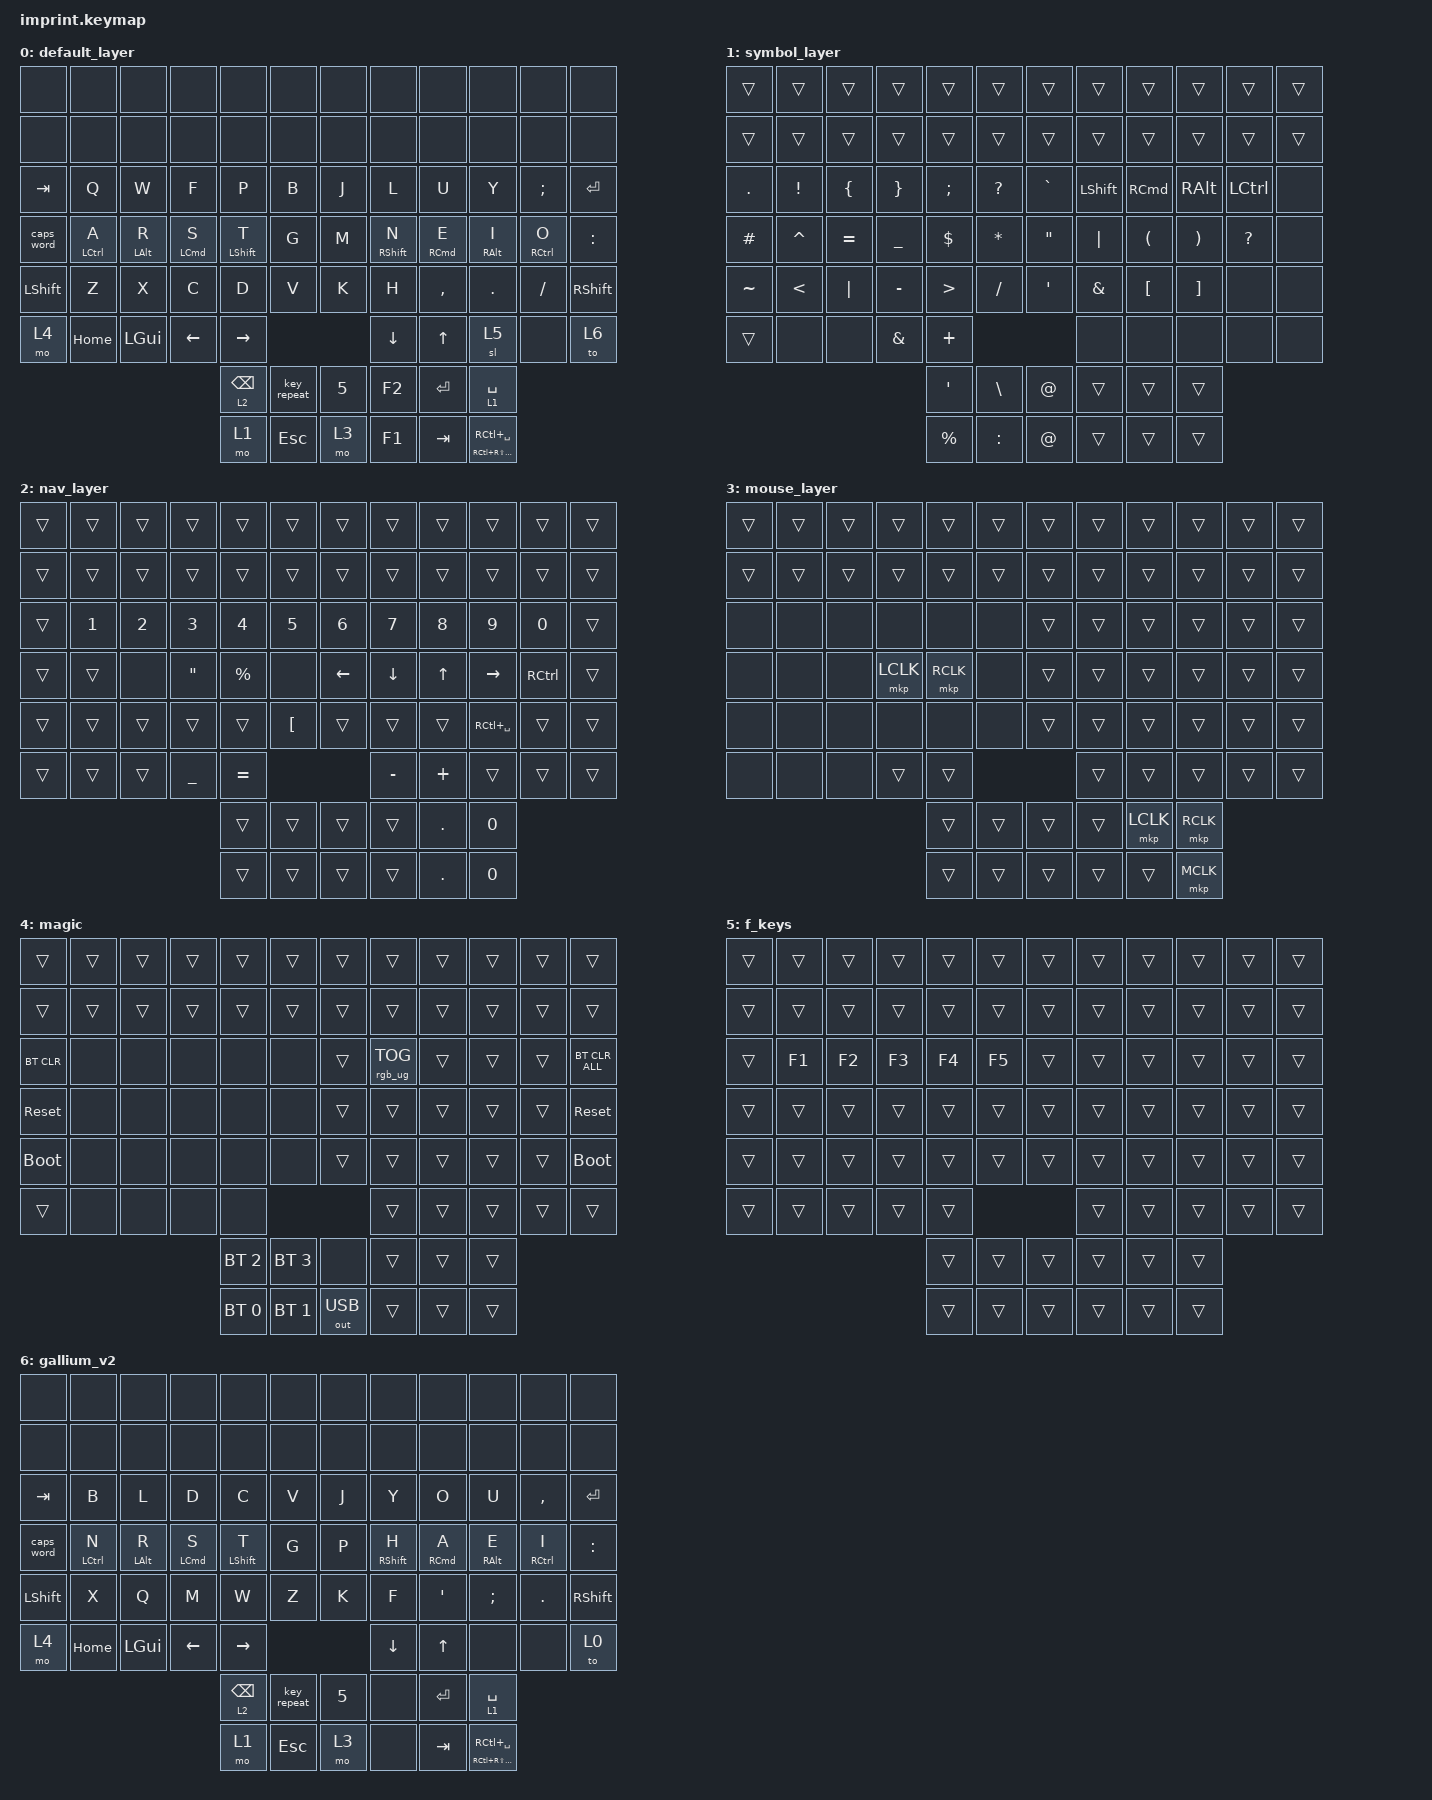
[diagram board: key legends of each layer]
#include <input/processors.dtsi>
#include <dt-bindings/zmk/input_transform.h>
#include <behaviors.dtsi>
#include <dt-bindings/zmk/bt.h>
#include <dt-bindings/zmk/keys.h>
#include <dt-bindings/zmk/outputs.h>
#include <dt-bindings/zmk/pointing.h>
#include <dt-bindings/zmk/rgb.h>

/ {
    chosen { zmk,matrix-transform = &imprint_function_row_full_bottom_row; };

    behaviors {
        hrm_l: hrm_l {
            compatible = "zmk,behavior-hold-tap";
            label = "HRM_L";
            bindings = <&kp>, <&kp>;

            #binding-cells = <2>;
            tapping-term-ms = <200>;
            quick-tap-ms = <175>;
            hold-trigger-on-release;
            hold-trigger-key-positions = <6 7 8 9 10 11 18 19 20 21 22 23 30 31 32 33 34 35 42 43 44 45 46 47 54 55 56 57 58 59 65 66 67 68 69 70 71 72 73 74 75 76 77 78 79 80 81>;
            flavor = "tap-preferred";
        };

        hrm_r: hrm_r {
            compatible = "zmk,behavior-hold-tap";
            label = "HRM_R";
            bindings = <&kp>, <&kp>;

            #binding-cells = <2>;
            tapping-term-ms = <200>;
            quick-tap-ms = <175>;
            hold-trigger-on-release;
            flavor = "tap-preferred";
            hold-trigger-key-positions = <0 1 2 3 4 5 12 13 14 15 16 17 24 25 26 27 28 29 36 37 38 39 40 41 48 49 50 51 52 53 60 61 62 63 64 70 70 71 72 73 74 75 76 77 78 79 80 81>;
        };

        layer_repeat: layer_repeat {
            compatible = "zmk,behavior-hold-tap";
            label = "LAYER_REPEAT";
            bindings = <&mo>, <&key_repeat>;

            #binding-cells = <2>;
            tapping-term-ms = <200>;
            quick-tap-ms = <17>;
            flavor = "tap-preferred";
            hold-trigger-on-release;
        };
    };

    keymap {
        compatible = "zmk,keymap";

        default_layer {
            bindings = <
&none       &none           &none              &none                  &none                &none                        &none   &none                 &none                                &none               &none           &none
&none       &none           &none              &none                  &none                &none                        &none   &none                 &none                                &none               &none           &none
&kp TAB     &kp Q           &kp W              &kp F                  &kp P                &kp B                        &kp J   &kp L                 &kp U                                &kp Y               &kp SEMICOLON   &kp ENTER
&caps_word  &hrm_l LCTRL A  &hrm_l LEFT_ALT R  &hrm_l LEFT_COMMAND S  &hrm_l LEFT_SHIFT T  &kp G                        &kp M   &hrm_r RIGHT_SHIFT N  &hrm_r RIGHT_COMMAND E               &hrm_l RIGHT_ALT I  &hrm_r RCTRL O  &kp COLON
&kp LSHFT   &kp Z           &kp X              &kp C                  &kp D                &kp V                        &kp K   &kp H                 &kp COMMA                            &kp DOT             &kp FSLH        &kp RSHFT
&mo 4       &kp HOME        &kp LGUI           &kp LEFT               &kp RIGHT                                                 &kp DOWN              &kp UP_ARROW                         &sl 5               &none           &to 6
                                                                      &lt 2 BACKSPACE      &key_repeat  &kp NUMBER_5    &kp F2  &kp ENTER             &lt 1 SPACE
                                                                      &mo 1                &kp ESCAPE   &mo 3           &kp F1  &kp TAB               &mt RC(RS(RA(RIGHT_GUI))) RC(SPACE)
            >;
        };

        symbol_layer {
            bindings = <
&trans      &trans           &trans          &trans           &trans            &trans                        &trans             &trans          &trans                &trans                 &trans            &trans
&trans      &trans           &trans          &trans           &trans            &trans                        &trans             &trans          &trans                &trans                 &trans            &trans
&kp PERIOD  &kp EXCLAMATION  &kp LEFT_BRACE  &kp RIGHT_BRACE  &kp SEMICOLON     &kp QUESTION                  &kp GRAVE          &kp LEFT_SHIFT  &kp RIGHT_COMMAND     &kp RIGHT_ALT          &kp LEFT_CONTROL  &none
&kp HASH    &kp CARET        &kp EQUAL       &kp UNDERSCORE   &kp DOLLAR        &kp ASTERISK                  &kp DOUBLE_QUOTES  &kp PIPE        &kp LEFT_PARENTHESIS  &kp RIGHT_PARENTHESIS  &kp QUESTION      &none
&kp TILDE   &kp LESS_THAN    &kp PIPE        &kp MINUS        &kp GREATER_THAN  &kp SLASH                     &kp SQT            &kp AMPERSAND   &kp LEFT_BRACKET      &kp RIGHT_BRACKET      &none             &none
&trans      &none            &none           &kp AMPERSAND    &kp PLUS                                                           &none           &none                 &none                  &none             &none
                                                              &kp SINGLE_QUOTE  &kp BACKSLASH  &kp AT_SIGN    &trans             &trans          &trans
                                                              &kp PERCENT       &kp COLON      &kp AT_SIGN    &trans             &trans          &trans
            >;
        };

        nav_layer {
            bindings = <
&trans  &trans        &trans        &trans             &trans        &trans                      &trans          &trans          &trans        &trans           &trans             &trans
&trans  &trans        &trans        &trans             &trans        &trans                      &trans          &trans          &trans        &trans           &trans             &trans
&trans  &kp NUMBER_1  &kp NUMBER_2  &kp NUMBER_3       &kp NUMBER_4  &kp NUMBER_5                &kp NUMBER_6    &kp NUMBER_7    &kp NUMBER_8  &kp NUMBER_9     &kp NUMBER_0       &trans
&trans  &trans        &none         &kp DOUBLE_QUOTES  &kp PERCENT   &none                       &kp LEFT_ARROW  &kp DOWN_ARROW  &kp UP_ARROW  &kp RIGHT_ARROW  &kp RIGHT_CONTROL  &trans
&trans  &trans        &trans        &trans             &trans        &kp LEFT_BRACKET            &trans          &trans          &trans        &kp RC(SPACE)    &trans             &trans
&trans  &trans        &trans        &kp UNDERSCORE     &kp EQUAL                                                 &kp MINUS       &kp PLUS      &trans           &trans             &trans
                                                       &trans        &trans            &trans    &trans          &kp PERIOD      &kp NUMBER_0
                                                       &trans        &trans            &trans    &trans          &kp PERIOD      &kp NUMBER_0
            >;
        };

        mouse_layer {
            bindings = <
&trans  &trans  &trans  &trans     &trans     &trans            &trans  &trans     &trans     &trans  &trans  &trans
&trans  &trans  &trans  &trans     &trans     &trans            &trans  &trans     &trans     &trans  &trans  &trans
&none   &none   &none   &none      &none      &none             &trans  &trans     &trans     &trans  &trans  &trans
&none   &none   &none   &mkp LCLK  &mkp RCLK  &none             &trans  &trans     &trans     &trans  &trans  &trans
&none   &none   &none   &none      &none      &none             &trans  &trans     &trans     &trans  &trans  &trans
&none   &none   &none   &trans     &trans                               &trans     &trans     &trans  &trans  &trans
                                   &trans     &trans  &trans    &trans  &mkp LCLK  &mkp RCLK
                                   &trans     &trans  &trans    &trans  &trans     &mkp MCLK
            >;
        };

        magic {
            bindings = <
&trans       &trans  &trans  &trans  &trans        &trans                        &trans  &trans           &trans  &trans  &trans  &trans
&trans       &trans  &trans  &trans  &trans        &trans                        &trans  &trans           &trans  &trans  &trans  &trans
&bt BT_CLR   &none   &none   &none   &none         &none                         &trans  &rgb_ug RGB_TOG  &trans  &trans  &trans  &bt BT_CLR_ALL
&sys_reset   &none   &none   &none   &none         &none                         &trans  &trans           &trans  &trans  &trans  &sys_reset
&bootloader  &none   &none   &none   &none         &none                         &trans  &trans           &trans  &trans  &trans  &bootloader
&trans       &none   &none   &none   &none                                               &trans           &trans  &trans  &trans  &trans
                                     &bt BT_SEL 2  &bt BT_SEL 3  &none           &trans  &trans           &trans
                                     &bt BT_SEL 0  &bt BT_SEL 1  &out OUT_USB    &trans  &trans           &trans
            >;
        };

        f_keys {
            bindings = <
&trans  &trans  &trans  &trans  &trans  &trans            &trans  &trans  &trans  &trans  &trans  &trans
&trans  &trans  &trans  &trans  &trans  &trans            &trans  &trans  &trans  &trans  &trans  &trans
&trans  &kp F1  &kp F2  &kp F3  &kp F4  &kp F5            &trans  &trans  &trans  &trans  &trans  &trans
&trans  &trans  &trans  &trans  &trans  &trans            &trans  &trans  &trans  &trans  &trans  &trans
&trans  &trans  &trans  &trans  &trans  &trans            &trans  &trans  &trans  &trans  &trans  &trans
&trans  &trans  &trans  &trans  &trans                            &trans  &trans  &trans  &trans  &trans
                                &trans  &trans  &trans    &trans  &trans  &trans
                                &trans  &trans  &trans    &trans  &trans  &trans
            >;
        };

        gallium_v2 {
            bindings = <
&none       &none           &none              &none                  &none                &none                        &none  &none                 &none                                &none               &none           &none
&none       &none           &none              &none                  &none                &none                        &none  &none                 &none                                &none               &none           &none
&kp TAB     &kp B           &kp L              &kp D                  &kp C                &kp V                        &kp J  &kp Y                 &kp O                                &kp U               &kp COMMA       &kp ENTER
&caps_word  &hrm_l LCTRL N  &hrm_l LEFT_ALT R  &hrm_l LEFT_COMMAND S  &hrm_l LEFT_SHIFT T  &kp G                        &kp P  &hrm_r RIGHT_SHIFT H  &hrm_r RIGHT_COMMAND A               &hrm_l RIGHT_ALT E  &hrm_r RCTRL I  &kp COLON
&kp LSHFT   &kp X           &kp Q              &kp M                  &kp W                &kp Z                        &kp K  &kp F                 &kp SQT                              &kp SEMICOLON       &kp PERIOD      &kp RSHFT
&mo 4       &kp HOME        &kp LGUI           &kp LEFT               &kp RIGHT                                                &kp DOWN              &kp UP_ARROW                         &none               &none           &to 0
                                                                      &lt 2 BACKSPACE      &key_repeat  &kp NUMBER_5    &none  &kp ENTER             &lt 1 SPACE
                                                                      &mo 1                &kp ESCAPE   &mo 3           &none  &kp TAB               &mt RC(RS(RA(RIGHT_GUI))) RC(SPACE)
            >;
        };
    };
};

// right hand trackball configuration

&trackball_peripheral_listener {
    input-processors =
        //     activate layer 3 within 500ms of the trackball moving,,,,,,,,,,
        <&zip_temp_layer 3 300>;
};

//left hand trackball configuration

&trackball_central_listener {
    input-processors =
        // multiply sensitivity by 1, divide by 3 (make it slower for scrolling),,,,,,,,,,,,,,,,,,,,
        <&zip_xy_scaler 1 10>,
        // make this trackball output scrolling events by default instead of cursor movement,,,,,,,,,,,,,,,,,,,,
        <&zip_xy_to_scroll_mapper>,
        // invert vertical scrolling so that the view moves in the same direction as the top of the trackball.,,,,,,,,,,,,,,,,,,,,
        <&zip_scroll_transform INPUT_TRANSFORM_Y_INVERT>;
};
